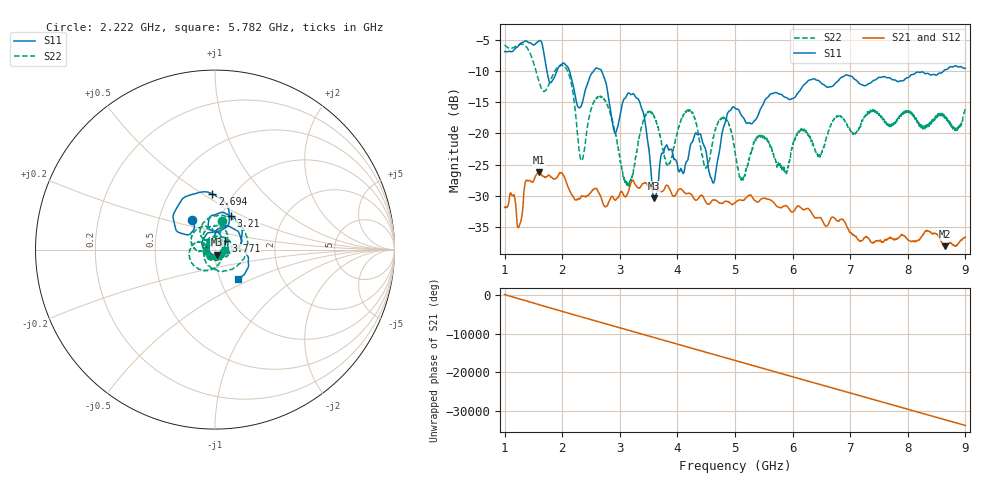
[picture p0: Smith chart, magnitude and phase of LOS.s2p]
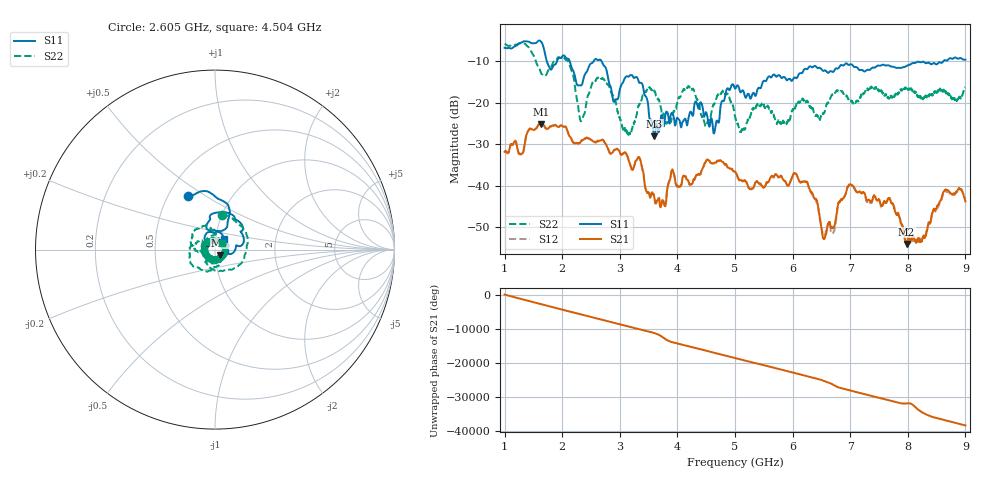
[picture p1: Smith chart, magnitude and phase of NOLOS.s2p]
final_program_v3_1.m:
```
close all
clear all

savefiles = true;

Nt = 3000; %Nf; %number of time domain points
Npts = 500; %number of delay points for power correlation
time_multiplier = 20; %Duration of signal in relation to impulse response

Nexp = 4; %Select experiment number
experiment = ["dataM/LOS.s2p", ... %EXP(1) Line-of-sight,3m
              "dataM/NOLOS.s2p", ... %EXP(2) No Line-of-sight, 3m
              "dataM/1R.s2p", ... %EXP(3) 1 Side Reflector, 3m
              "dataM/2R.s2p", ... %EXP(4) 2 Side Reflectors, 3m
              "dataM/3R.s2p", ... %EXP(5) 3 Side Reflectros, 3m
              "dataM/3R_NOLOS.s2p", ... %EXP(6) 3 Side Reflectors No Line-of-sight, 3m
              "dataM/3R_2D.s2p", ... %EXP(7) 3 Side Reflectors, 2 Diffraction Plates, 3m
              "dataM/3R_4D.s2p", ... %EXP(8) 3 Side Reflectors, 4 Diffraction Plates, 3m
              "dataM/4R_4D.s2p"]; %EXP(9) 4 Side Reflectors, 4 Diffraction Plates

%display figures if not saving them
if(savefiles)
    visible_opt = 'off';
else
    visible_opt = 'on';
end

power_level = 0; %in dBm (Used in Measurements)

%Cutoff TF with high frequency response deviation
%Can be used to remove phase deviation at the start of frequency response
remove_frequency_deviation = true;
 
S = sparameters(experiment(Nexp)).Parameters;
freq1 = sparameters(experiment(Nexp)).Frequencies;

%scattering two-port parameters
S21 = squeeze(S(2,1,:));

%characteristic impedance
Z0 = 50; 

%channel transfer function
TF1 = S21/2; 

%remove lower frequency components that cause phase deviation
%the upper frequencies have to be removed too to keep  
%center frequency at the same position
freq_dev = 0.5e9; 
freq_cutoff1 = freq1(1) + freq_dev;
freq_cutoff2 = freq1(end) - freq_dev;

%find the closest position to cutoff points
pos1 = (abs(freq1 - freq_cutoff1) < 0.01e9);
pos2 = (abs(freq1 - freq_cutoff2) < 0.01e9);
    
f1 = min(find(pos1 == 1));
f2 = max(find(pos2 == 1));
    
%create a new frequency array and update boundaries of transfer function
freq = freq1(f1:f2);
TF = TF1(f1:f2);
freq_GHz = freq/1e9;
omega = 2*pi*freq;
Nf = size(freq,1);
    
%the number of times the sampling rate is greater than CIR's bandwidth
df = freq(2)-freq(1); %frequency step
Tspan = 1/df; %maximum time span of the Fourier transform 

%the time domain boundaries were identified by inspection
tmin_arr = [11.06; 6.6; 5.96; 11.24; 11.38; 0; 2.051; 5.203; 0]*1e-9;
tmax_arr = [17.6; 33.38; 26.03; 25.97; 26.05; 31.77; 65.33; 64.58; 53.93]*1e-9;
tmin = tmin_arr(Nexp);
tmax = tmax_arr(Nexp);

time = linspace(tmin,tmax,Nt).';
dt = time(2)-time(1);
time_ns = time*1e9;

%used to correct amplitude of the continuous sampled Fourier transform
sample_rate_multiplier = Tspan / (tmax-tmin) * Nt / Nf; 

%find channel impulse response
CIR = IFT(TF,omega,time);

CIR_dB = 20*log10(abs(CIR));

clear S A B S12 S22 S11 freq1 S21 
%% Plot CIR and Transfer Function

gcf = figure('DefaultAxesFontSize', 14, 'units',...
    'normalized','outerposition',[0 0 1 1], 'Visible', visible_opt);
plot(time_ns,20*log10(abs(CIR)));
grid on
ylabel('Channel Impulse Response, dB')
xlabel('Time, ns')

save_to_png(gcf,'Impulse_Response',Nexp,savefiles)

markers = {'*' '.'};
gcf = figure('DefaultAxesFontSize', 14, 'units',...
    'normalized','outerposition',[0 0 1 1], 'Visible', visible_opt);
gsh = plot(time_ns,real(CIR),time_ns,imag(CIR));
grid on
ylabel('Channel Impulse Response, linear')
xlabel('Time, ns')
set(gsh,{'Marker'}, markers(:),'MarkerSize',4)
legend('Re(CIR)','Im(CIR)')

save_to_png(gcf,'Impulse_Response_Re_Im',Nexp,savefiles)

gcf = figure('DefaultAxesFontSize', 14, 'units',...
    'normalized','outerposition',[0 0 1 1], 'Visible', visible_opt);
TF_Test = FT(CIR,omega,time,sample_rate_multiplier);
plot(freq_GHz,20*log10(abs(TF_Test)),'.','MarkerSize',20)
hold on
plot(freq_GHz,20*log10(abs(TF)),'x','MarkerSize',2)
grid on
legend('Fourier Transform of CIR','Transfer Function')
xlabel('Frequency, Hz')
ylabel('Transfer Function, dB')

save_to_png(gcf,'Transfer_Function',Nexp,savefiles)

gcf = figure('DefaultAxesFontSize', 14, 'units',...
    'normalized','outerposition',[0 0 1 1], 'Visible', visible_opt);
subplot(2,1,1)
plot(freq_GHz,angle(TF))
grid on
xlabel('Frequency, GHz')
ylabel('Phase (Deg)')
title('Phase of the Transfer Function')
subplot(2,1,2)
plot(freq_GHz,unwrap(angle(TF)),'x','MarkerSize',2)
grid on
xlabel('Frequency, GHz')
ylabel('Unwrapper Phase (Deg)')

save_to_png(gcf,'Transfer_Function_phase',Nexp,savefiles)

%% GENERATE DIFFERENT SIGNALS AND ANALYZE

%assume that the noise floor is defined by the first data point of CIR
SNR = abs(CIR_dB(1))-power_level; 

fc = (freq(end)-freq(1))/2+freq(1);
wc = 2*pi*fc;

Ns = ceil(Nt*time_multiplier);
ts = linspace(0,Ns,Ns).'*dt;
lowpass_to_bandpass = exp(1i*wc*ts);

%% THERMAL SOURCE
x_th = randn(Ns,1)+cos(wc*ts);
y_th = convolution(x_th,real(CIR));

Ny = size(y_th,1);
ty = linspace(0,Ny,Ny).'*dt;

P_th = 0.5*abs(y_th).^2;
P_in_th = 0.5*abs(x_th).^2;

P_th_corr = power_correlation(P_th, Npts);
P_in_th_corr = power_correlation(P_in_th, Npts);

%% AMPLITUDE MODULATED SIGNAL
x_am = (1+unifrnd(-1,1,Ns,1)).*cos(2*pi*fc*ts);
y_am = convolution(x_am,real(CIR));

P_am = 0.5*abs(y_am).^2;
P_in_am = 0.5*abs(x_am).^2;

P_am_corr = power_correlation(P_am, Npts);
P_in_am_corr = power_correlation(P_in_am, Npts);

%% PHASE MODULATED SIGNAL

phase = unwrap(wc*ts) + unwrap(2*pi*rand(Ns,1));
x_pm = real(exp(1i*phase));
y_pm = convolution(x_pm,real(CIR));

P_pm = 0.5*abs(y_pm).^2;
P_in_pm = 0.5*abs(x_pm).^2;

P_pm_corr = power_correlation(P_pm, Npts);
P_in_pm_corr = power_correlation(P_in_pm, Npts);

%% POWER SPECTRAL DENSITY (in Vrms^2/Hz)
df = freq(2)-freq(1); %required scaling

%Refer to Wiener-Khinchin theorem for more details 
ACF_th = autocorr(y_th/sqrt(2),'NumLags',Ny-1)*var(y_th/sqrt(2),1);
ACF_am = autocorr(y_am/sqrt(2),'NumLags',Ny-1)*var(y_am/sqrt(2),1);
ACF_pm = autocorr(y_pm/sqrt(2),'NumLags',Ny-1)*var(y_pm/sqrt(2),1);

Nacf = size(ACF_th,1);
tau1 = linspace(0,Nacf,Nacf).'*dt;

sample_rate_multiplier1 = Tspan / (tau1(end)-tau1(1)) * Nacf / Nf;

PSD_th = FT(ACF_th,omega,tau1,sample_rate_multiplier1)/df;
PSD_am = FT(ACF_am,omega,tau1,sample_rate_multiplier1)/df;
PSD_pm = FT(ACF_pm,omega,tau1,sample_rate_multiplier1)/df;

%% PLOT SIGNALS (BANDPASS AND LOWPASS EQUIVALENT ENVELOPE)
Nspl = floor(size(ts,1)/10);
tsp = ts(1:Nspl)*1e9;

gcf = figure('DefaultAxesFontSize', 14, 'units',...
    'normalized','outerposition',[0 0 1 1], 'Visible', visible_opt);

subplot(3,1,1)
plot(tsp, x_th(1:Nspl),'--')
grid on
xlabel('Time, ns')
ylabel('Thermal Signal, V')
xlim([0 tsp(end)])
title('Transmitted Signals')

subplot(3,1,2)
plot(tsp, x_am(1:Nspl),'--')
grid on
xlabel('Time, ns')
ylabel('AM Signal, V')
xlim([0 tsp(end)])

subplot(3,1,3)
plot(tsp, x_pm(1:Nspl),'--')
grid on
xlabel('Time, ns')
ylabel('PM Signal, V')
xlim([0 tsp(end)])

save_to_png(gcf,'Transmitted_signals',Nexp,savefiles)

gcf = figure('DefaultAxesFontSize', 14, 'units',...
    'normalized','outerposition',[0 0 1 1], 'Visible', visible_opt);

subplot(3,1,1)
plot(tsp, y_th(1:Nspl),'--')
grid on
xlabel('Time, ns')
ylabel('Thermal Signal, V')
xlim([0 tsp(end)])
title('Bandpass Representation of Received Signals')

subplot(3,1,2)
plot(tsp, y_am(1:Nspl),'--')
grid on
xlabel('Time, ns')
ylabel('AM Signal, V')
xlim([0 tsp(end)])

subplot(3,1,3)
plot(tsp, y_pm(1:Nspl),'--')
grid on
xlabel('Time, ns')
ylabel('PM Signal, V')
xlim([0 tsp(end)])

save_to_png(gcf,'Received_signals',Nexp,savefiles)

%% PLOTTING ANALYZED DATA
%autocorrelation functions 
gcf = figure('DefaultAxesFontSize', 14, 'units',...
    'normalized','outerposition',[0 0 1 1], 'Visible', visible_opt);
plot(tau1*1e9,ACF_am,'.')
hold on
plot(tau1*1e9,ACF_th,'.')
hold on
plot(tau1*1e9,ACF_pm,'*','MarkerSize',4,'color','k')
grid on
legend('Amplitude modulated Signal', ...
       'Thermal Noise', ...
       'Phase modulated Signal')
xlabel('Delay Time, ns')
ylabel('ACF(y)')
hold off

save_to_png(gcf,'Autocorrelation_Voltage',Nexp,savefiles)

%%
%correlation coefficients 
gcf = figure('DefaultAxesFontSize', 14, 'units',...
    'normalized','outerposition',[0 0 1 1], 'Visible', visible_opt);

N1 = size(P_pm_corr,1);
tau = linspace(0,N1,N1).'*dt*1e9; %in ns

plot(tau, P_pm_corr, '-*', 'color', 'm');
hold on
plot(tau, P_am_corr, '-^', 'color', 'red');
hold on
plot(tau, P_th_corr, '-x', 'color', 'b');
grid on
legend('Phase modulated Signal', ...
       'Amplitude modulated Signal', ...
       'Thermal Noise')
xlabel('Delay Time, ns')
ylabel('Power Correlation')
title('Power Correlation at the Receiver')

save_to_png(gcf,'Power_Correlation_Receiver',Nexp,savefiles)

N2 = size(P_in_pm_corr,1);
tau = linspace(0,N2,N2).'*dt*1e9; %in ns

gcf = figure('DefaultAxesFontSize', 14, 'units',...
    'normalized','outerposition',[0 0 1 1], 'Visible', visible_opt);
plot(tau, P_in_pm_corr, '-x', 'color', 'm');
hold on
plot(tau, P_in_am_corr, '--', 'color', 'r');
hold on
plot(tau, P_in_th_corr, '-.', 'color', 'b');
grid on
legend('Phase modulated Signal', ...
       'Amplitude modulated Signal', ...
       'Thermal Noise')
xlabel('Delay Time, ns')
ylabel('Power Correlation')
title('Power Correlation at the Transmitter')

save_to_png(gcf,'Power_Correlation_Transmitter',Nexp,savefiles)

%%
%power spectral density
gcf = figure('DefaultAxesFontSize', 14, 'units',...
    'normalized','outerposition',[0 0 1 1], 'Visible', visible_opt);
plot(freq_GHz, 10*log10(abs(PSD_pm)), '>', ...
     freq_GHz, 10*log10(abs(PSD_am)), '+', ...
     freq_GHz, 10*log10(abs(PSD_th)), 'x', 'MarkerSize', 2)
grid on
legend('Phase modulated Signal', ...
       'Amplitude modulated Signal', ...
       'Thermal Noise')
xlabel('Frequency, GHz')
ylabel(strcat('PSD of the Received Signal (SNR = ',num2str(SNR),'dB) dB(V_{rms}^{2}/Hz)'))

save_to_png(gcf,'Power_Spectral_Density',Nexp,savefiles)

%input power / output power

gcf = figure('DefaultAxesFontSize', 14, 'units',...
    'normalized','outerposition',[0 0 1 1], 'Visible', visible_opt);
plot(ty*1e9, 10*log10(P_am), '.', ...
     ty*1e9, 10*log10(P_th), '.', ...
     ty*1e9, 10*log10(P_pm), '.') %ts*1e9, P_in_pm, '*', 
xlabel('Time, ns')
ylabel('Normalized Instantaneous Signal Power at the Receiver, dB(W.\Omega)')
legend('AM','Thermal','PM')
title('Power of Different Signals at the Receiver')
grid on
save_to_png(gcf,'Instantaneous_Power',Nexp,savefiles)

gcf = figure('DefaultAxesFontSize', 14, 'units',...
    'normalized','outerposition',[0 0 1 1], 'Visible', visible_opt);
p = histogram(abs(y_th),'Normalization','probability','BinWidth',0.0008); 
title('Probability Density Function (Thermal Source)')
grid on
xlabel('Envelope Magnitude')

save_to_png(gcf,'PDF_TH',Nexp,savefiles)

gcf = figure('DefaultAxesFontSize', 14, 'units',...
    'normalized','outerposition',[0 0 1 1], 'Visible', visible_opt);
p = histogram(abs(y_am),'Normalization','probability','BinWidth',0.0008); 
title('Probability Density Function (Amplitude Modulation)')
grid on
xlabel('Envelope Magnitude')

save_to_png(gcf,'PDF_AM',Nexp,savefiles)

gcf = figure('DefaultAxesFontSize', 14, 'units',...
    'normalized','outerposition',[0 0 1 1], 'Visible', visible_opt);
p = histogram(abs(y_pm),'Normalization','probability','BinWidth',0.0008); 
title('Probability Density Function (Phase Modulation)')
grid on
xlabel('Envelope Magnitude, V')

save_to_png(gcf,'PDF_PM',Nexp,savefiles)

function Y = FT(y,omega,time,sample_rate_multiplier)
    Nf = size(omega,1);
    Y = zeros(Nf,1);
    for i=1:Nf
        Y(i)=sum(y.*exp(-1i*time*omega(i)));
    end
    Y = Y / sample_rate_multiplier;
end

function y = IFT(Y,omega,time) %for filters
    Nt = size(time,1);
    Nf = size(omega,1);
    y = zeros(Nt,1);
    for i=1:Nt
        y(i) = sum(Y.*exp(1i*omega*time(i))); 
    end
    y = y / Nf; %this is equivalent to having a rectangular window
end

function [y,freqnew,Nfnew] = LOWPASS_IFT(Y,freq,time) %for real networks
    Nt = size(time,1);
    Nf = size(freq,1);
    f1 = freq(1);
    df = freq(2)-f1;
    Tmax = 1/df;
    Nzp = f1/df;
    Ynew = vertcat(zeros(Nzp,1),Y);
    Nfnew = Nf + Nzp;
    freqnew = linspace(0,Nfnew,Nfnew).'*df;
    y = zeros(Nt,1);
    for i=1:Nt
        y(i) = 2*real(sum(Ynew(2:end).*exp(1i*freqnew(2:end)*time(i)))); 
    end
    y = y + Ynew(1);
    y = y / Nfnew; %this is equivalent to having a rectangular window
end

function c = power_correlation(P,Npts)
    c = zeros(Npts,1);
    Pm = mean(P);
    Pmsqr = Pm^2;
    Np = size(P,1);
    for i=1:Npts
       Q = zeros(Np,1);
       Q(i+1:end)=P(1:end-i);
       %Q = circshift(P,i-1);
       Qm = mean(Q);
       c(i) = mean(P.*Q)/Qm/Pm; 
    end
end

function y = convolution(x1,x2)
    conv_num = 3;
    conv_option = ["full","same","valid"];
    y = conv(real(x1), real(x2), conv_option(conv_num)) - ...
        conv(imag(x1), imag(x2), conv_option(conv_num)) + ...
    1i*(conv(real(x1), imag(x2), conv_option(conv_num)) + ...
        conv(imag(x1), real(x2), conv_option(conv_num)));    
end

function save_to_png(gcf, name, Nexp, savefiles)
    experiments = {'LOS', ... 
                  'NOLOS', ... 
                  '1REFL_LOS', ... 
                  '2REFL_LOS', ... 
                  '3REFL_LOS', ... 
                  '3REFL_NOLOS', ... 
                  '3REFL_2DIFF_LOS', ... 
                  '3REFL_4DIFF_LOS', ... 
                  '4REFL_4DIFF_LOS'}';
    subdirectory = 'results';
    if ~exist(subdirectory, 'dir')
        [status, msg, msgID] = mkdir(subdirectory)
    end
    subdirectory = strcat('results/',experiments{Nexp});
    if ~exist(subdirectory,'dir')
        [status, msg, msgID] = mkdir(subdirectory)
    end
    if(savefiles)
        path = strcat('/',subdirectory,'/',name);
        saveas(gcf,[pwd path]); %save as matlab figure
        saveas(gcf,[pwd path],'png'); %save as png
    end
end
```
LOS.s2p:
!Keysight Technologies N9915A: A.10.33
!Date: Tuesday, 12 May 2020 14:01:56
!Timezone: (UTC+08:00) Perth
!Model: N9915A
!Serial: MY53102697
!GPS Latitude:
!GPS Longitude:
!GPS TimeStamp: 0001-01-01 00:00:00Z
!GPS Seconds Since Last Read: 0
!CHECKSUM:1499652712
!Correction: S11(ON U)S21(ON U)S12(ON U)S22(ON U)
!S2P File: Measurements:S11,S21,S12,S22:
# Hz S DB R 50
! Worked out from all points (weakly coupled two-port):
!   10001 points, 1 GHz to 9 GHz, reference 50 ohm
!   highest |S21| = -26.26 dB at 1.599 GHz (marker M1); lowest = -38.2 dB at 8.64 GHz (marker M2)
!   lowest |S11| = -30.4 dB at 3.593 GHz (marker M3), VSWR 1.06, Z = 51 - j2.88 ohm
!   |S11| at or under -10 dB: 1.735 GHz to 1.903 GHz (167.3 MHz wide, 9.2 % of centre); 2.129 GHz to 2.541 GHz (412.2 MHz wide, 17.7 % of centre); 2.687 GHz to 8.614 GHz (5.926 GHz wide, 105 % of centre)
!   |S22| runs from -28.5 to -5.6 dB; largest |S21 - S12| = 0.0022
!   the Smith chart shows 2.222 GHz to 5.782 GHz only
!   S11 on the Smith chart (normalised r, x): 2.222 GHz: 0.74, +0.25; 2.694 GHz: 0.80, +0.55; 3.21 GHz: 1.11, +0.43; 3.771 GHz: 1.12, +0.10; 5.782 GHz: 1.22, -0.42
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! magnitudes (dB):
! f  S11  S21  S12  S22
! 1 GHz  -6.8  -31.9  -31.8  -5.7
! 1.599 GHz  -5.1  -26.3  -26.3  -11.7
! 2.222 GHz  -13.7  -30.7  -30.7  -15.9
! 2.694 GHz  -10.2  -30.9  -30.9  -14.2
! 3.21 GHz  -13.6  -27.7  -27.7  -27.0
! 3.593 GHz  -30.4  -28.8  -28.9  -17.3
! 3.771 GHz  -22.7  -29.0  -29.1  -23.5
! 5 GHz  -15.9  -31.2  -31.3  -22.9
! 5.782 GHz  -13.6  -32.0  -32.0  -24.9
! 8.64 GHz  -9.7  -38.2  -38.2  -17.2
! 9 GHz  -9.5  -36.7  -36.9  -16.0
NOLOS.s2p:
!Keysight Technologies N9915A: A.10.33
!Date: Tuesday, 12 May 2020 14:05:18
!Timezone: (UTC+08:00) Perth
!Model: N9915A
!Serial: MY53102697
!GPS Latitude:
!GPS Longitude:
!GPS TimeStamp: 0001-01-01 00:00:00Z
!GPS Seconds Since Last Read: 0
!CHECKSUM:0824710176
!Correction: S11(ON U)S21(ON U)S12(ON U)S22(ON U)
!S2P File: Measurements:S11,S21,S12,S22:
# Hz S DB R 50
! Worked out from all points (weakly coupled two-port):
!   10001 points, 1 GHz to 9 GHz, reference 50 ohm
!   highest |S21| = -25.07 dB at 1.639 GHz (marker M1); lowest = -54.0 dB at 7.978 GHz (marker M2)
!   lowest |S11| = -28.0 dB at 3.598 GHz (marker M3), VSWR 1.08, Z = 52.5 - j3.18 ohm
!   |S11| at or under -10 dB: 1.734 GHz to 1.909 GHz (175.1 MHz wide, 9.62 % of centre); 2.131 GHz to 2.542 GHz (410.6 MHz wide, 17.6 % of centre); 2.685 GHz to 8.615 GHz (5.929 GHz wide, 105 % of centre)
!   |S22| runs from -27.7 to -5.6 dB; largest |S21 - S12| = 0.019
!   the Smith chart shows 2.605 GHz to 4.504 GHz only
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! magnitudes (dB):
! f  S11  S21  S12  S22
! 1 GHz  -6.7  -31.8  -31.9  -5.8
! 1.639 GHz  -5.4  -25.1  -25.1  -13.0
! 2.076 GHz  -9.3  -26.2  -26.2  -9.7
! 2.336 GHz  -15.7  -29.0  -29.1  -24.2
! 2.709 GHz  -10.7  -28.9  -29.0  -14.1
! 3.154 GHz  -13.7  -33.9  -33.9  -27.5
! 3.598 GHz  -28.0  -42.5  -42.8  -17.0
! 5 GHz  -16.6  -36.6  -36.8  -23.1
! 7.686 GHz  -11.1  -43.1  -43.1  -18.5
! 7.978 GHz  -11.1  -54.0  -54.5  -16.6
! 9 GHz  -9.6  -43.7  -43.1  -16.3
